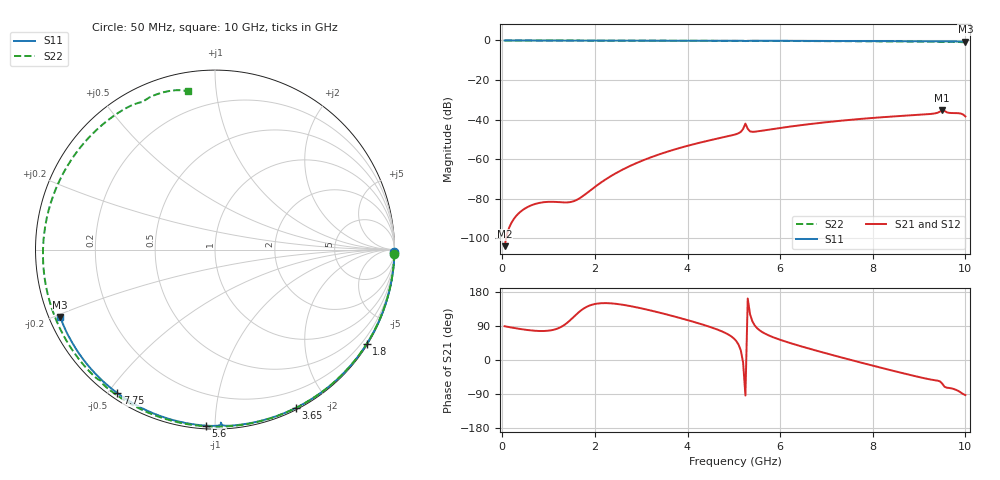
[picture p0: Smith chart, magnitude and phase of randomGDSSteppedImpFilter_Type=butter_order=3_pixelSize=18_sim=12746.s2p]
! freq	dB(S11)	phase(S11)	dB(S12)	phase(S12)
!  dB(S21)	phase(S21)	dB(S22)	phase(S22)
!S-par simulation data
#  GHz  S  DB  R 50
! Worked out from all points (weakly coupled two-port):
!   200 points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, 50 MHz to 10 GHz, reference 50 ohm
!   highest |S21| = -35.27 dB at 9.5 GHz (marker M1); lowest = -103.9 dB at 50 MHz (marker M2)
!   lowest |S11| = -0.5 dB at 10 GHz (marker M3), VSWR 32.53, Z = 1.6 - j10.4 ohm
!   |S11| at or under -10 dB: nowhere
!   |S22| runs from -1.0 to 0.0 dB; largest |S21 - S12| = 0
!   S11 on the Smith chart (normalised r, x): 50 MHz: open; 1.8 GHz: 0.03, -3.51; 3.65 GHz: 0.02, -1.64; 5.6 GHz: 0.02, -0.95; 7.75 GHz: 0.02, -0.53; 10 GHz: 0.03, -0.21
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0.05  -0.00 -0.9  -103.90 89.1  -103.90 89.1  -0.00 -1.4
0.8  -0.02 -14.3  -82.04 76.5  -82.04 76.5  -0.03 -21.5
1.65  -0.04 -29.2  -79.98 125.9  -79.98 125.9  -0.06 -43.9
1.75  -0.04 -31.0  -78.42 135.2  -78.42 135.2  -0.06 -46.5
1.8  -0.04 -31.8  -77.55 138.9  -77.55 138.9  -0.06 -47.8
2.5  -0.06 -43.8  -66.43 147.6  -66.43 147.6  -0.08 -65.5
3.4  -0.08 -58.8  -57.43 124.8  -57.43 124.8  -0.12 -87.6
3.65  -0.09 -62.9  -55.55 117.0  -55.55 117.0  -0.12 -93.6
4.35  -0.11 -74.0  -51.14 92.6  -51.14 92.6  -0.16 -110.1
5.05  -0.14 -85.0  -47.32 50.4  -47.32 50.4  -0.19 -126.4
5.15  -0.15 -86.7  -46.19 25.7  -46.19 25.7  -0.20 -128.8
5.25  -0.31 -88.1  -41.99 -93.7  -41.99 -93.7  -0.27 -131.1
5.35  -0.17 -89.0  -45.93 120.8  -45.93 120.8  -0.22 -133.2
5.6  -0.16 -93.0  -45.60 74.7  -45.60 74.7  -0.23 -139.1
6.7  -0.21 -109.3  -42.07 27.5  -42.07 27.5  -0.31 -165.2
7.75  -0.29 -124.3  -39.60 -7.0  -39.60 -7.0  -0.42 168.1
8.35  -0.34 -132.8  -38.53 -25.8  -38.53 -25.8  -0.48 151.6
9.3  -0.45 -146.3  -37.00 -52.7  -37.00 -52.7  -0.62 122.6
9.5  -0.47 -149.2  -35.27 -62.3  -35.27 -62.3  -0.75 116.2
9.65  -0.48 -151.4  -36.57 -73.8  -36.57 -73.8  -0.68 111.5
9.9  -0.52 -155.0  -36.91 -85.6  -36.91 -85.6  -0.82 102.4
10  -0.53 -156.5  -38.37 -92.5  -38.37 -92.5  -0.97 99.7
